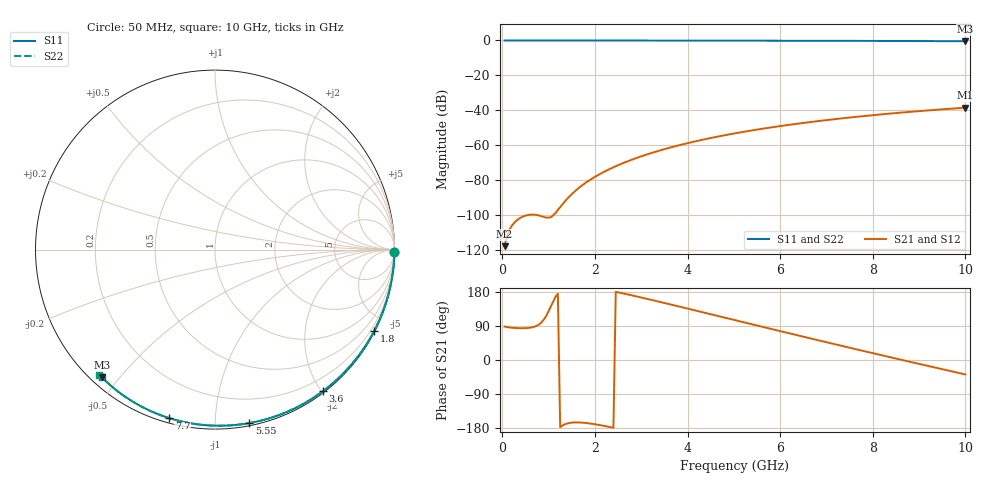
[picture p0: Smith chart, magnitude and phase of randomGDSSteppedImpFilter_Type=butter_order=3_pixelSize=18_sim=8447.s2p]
! freq	dB(S11)	phase(S11)	dB(S12)	phase(S12)
!  dB(S21)	phase(S21)	dB(S22)	phase(S22)
!S-par simulation data
#  GHz  S  DB  R 50
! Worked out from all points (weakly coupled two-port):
!   200 points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, 50 MHz to 10 GHz, reference 50 ohm
!   highest |S21| = -38.42 dB at 10 GHz (marker M1); lowest = -117.6 dB at 50 MHz (marker M2)
!   lowest |S11| = -0.4 dB at 10 GHz (marker M3), VSWR 39.04, Z = 1.54 - j22.4 ohm
!   |S11| at or under -10 dB: nowhere
!   |S22| runs from -0.4 to 0.0 dB; largest |S21 - S12| = 0
!   S11 on the Smith chart (normalised r, x): 50 MHz: open; 1.8 GHz: 0.04, -4.17; 3.6 GHz: 0.02, -2.02; 5.55 GHz: 0.02, -1.22; 7.7 GHz: 0.02, -0.76; 10 GHz: 0.03, -0.45
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0.05  -0.00 -0.8  -117.60 88.3  -117.60 88.3  -0.00 -0.8
0.9  -0.02 -13.6  -100.96 107.4  -100.96 107.4  -0.02 -13.7
1.75  -0.03 -26.2  -82.31 -165.6  -82.31 -165.6  -0.03 -26.5
1.8  -0.03 -27.0  -81.36 -166.2  -81.36 -166.2  -0.03 -27.2
1.85  -0.04 -27.7  -80.46 -166.9  -80.46 -166.9  -0.04 -27.9
1.9  -0.04 -28.4  -79.60 -167.7  -79.60 -167.7  -0.04 -28.7
2.05  -0.04 -30.6  -77.20 -170.6  -77.20 -170.6  -0.04 -30.9
2.25  -0.04 -33.6  -74.38 -175.1  -74.38 -175.1  -0.04 -33.8
2.45  -0.05 -36.5  -71.89 180.0  -71.89 180.0  -0.05 -36.7
2.65  -0.05 -39.3  -69.66 174.7  -69.66 174.7  -0.05 -39.6
3  -0.06 -44.3  -66.24 164.9  -66.24 164.9  -0.06 -44.7
3.4  -0.07 -50.0  -62.90 153.4  -62.90 153.4  -0.07 -50.4
3.6  -0.07 -52.8  -61.41 147.6  -61.41 147.6  -0.07 -53.2
4.3  -0.09 -62.3  -56.89 126.8  -56.89 126.8  -0.09 -62.8
5.05  -0.11 -72.3  -52.97 104.4  -52.97 104.4  -0.11 -72.9
5.55  -0.13 -78.8  -50.74 89.6  -50.74 89.6  -0.13 -79.4
6.1  -0.15 -85.8  -48.57 73.3  -48.57 73.3  -0.15 -86.4
6.7  -0.18 -93.2  -46.48 55.6  -46.48 55.6  -0.18 -93.9
7.7  -0.24 -105.2  -43.51 26.6  -43.51 26.6  -0.24 -106.1
8.35  -0.29 -112.8  -41.85 8.0  -41.85 8.0  -0.29 -113.8
9.15  -0.36 -122.0  -40.06 -14.5  -40.06 -14.5  -0.36 -123.1
10  -0.45 -131.6  -38.42 -38.1  -38.42 -38.1  -0.45 -132.9
